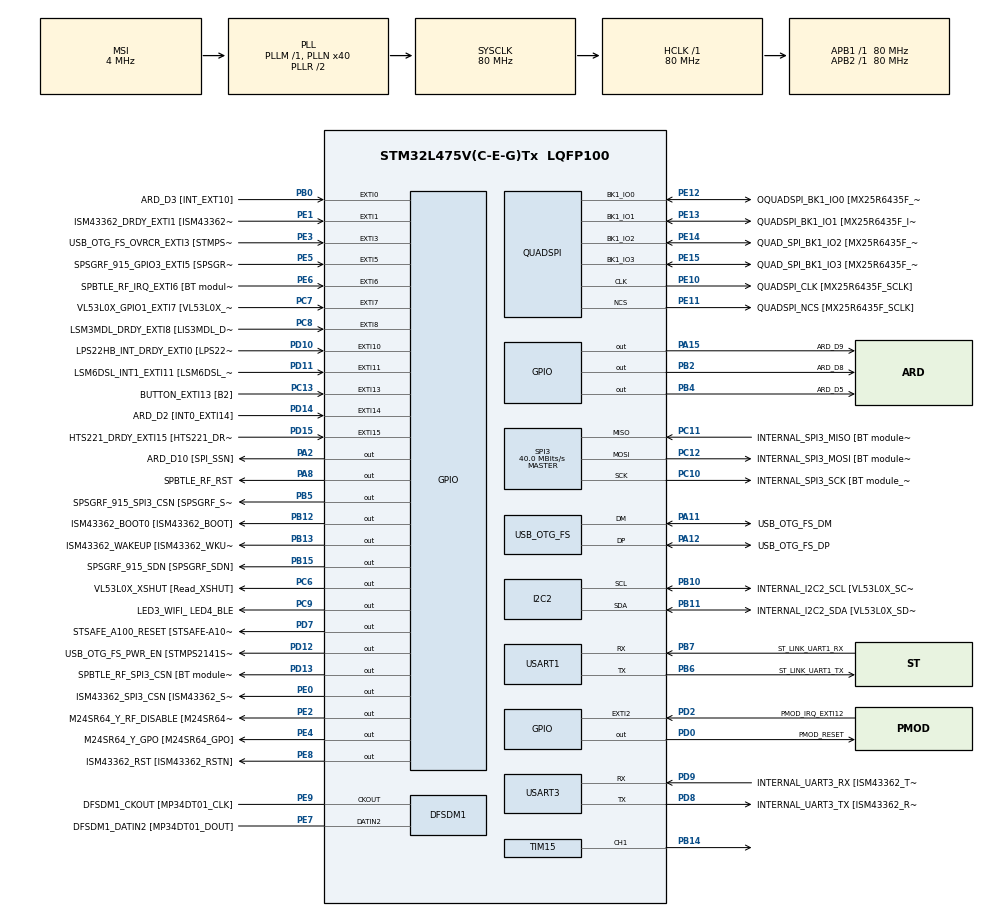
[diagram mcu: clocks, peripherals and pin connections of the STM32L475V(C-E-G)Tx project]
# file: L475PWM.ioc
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I2C2.Timing=0x10909CEC
Mcu.Family=STM32L4
Mcu.Name=STM32L475V(C-E-G)Tx
Mcu.Package=LQFP100
NVIC.EXTI15_10_IRQn=true\:0\:0\:false\:false\:true\:true\:true\:true
NVIC.EXTI9_5_IRQn=true\:0\:0\:false\:false\:true\:true\:true\:true
NVIC.PriorityGroup=NVIC_PRIORITYGROUP_4
PA0.GPIO_Label=ARD_D1 [UART4_TX]
PA0.Signal=UART4_TX
PA1.GPIO_Label=ARD_D0 [UART4_RX]
PA1.Signal=UART4_RX
PA10.GPIO_Label=USB_OTG_FS_ID
PA10.Signal=USB_OTG_FS_ID
PA11.GPIO_Label=USB_OTG_FS_DM
PA11.Mode=Device_Only
PA11.Signal=USB_OTG_FS_DM
PA12.GPIO_Label=USB_OTG_FS_DP
PA12.Mode=Device_Only
PA12.Signal=USB_OTG_FS_DP
PA13\ (JTMS-SWDIO).GPIO_Label=SYS_JTMS_SWDIO
PA13\ (JTMS-SWDIO).Mode=Serial_Wire
PA13\ (JTMS-SWDIO).Signal=SYS_JTMS-SWDIO
PA14\ (JTCK-SWCLK).GPIO_Label=SYS_JTCK_SWCLK
PA14\ (JTCK-SWCLK).Mode=Serial_Wire
PA14\ (JTCK-SWCLK).Signal=SYS_JTCK-SWCLK
PA15\ (JTDI).GPIO_Label=ARD_D9
PA15\ (JTDI).Signal=GPIO_Output
PA2.GPIO_Label=ARD_D10 [SPI_SSN]
PA2.Signal=GPIO_Output
PA3.GPIO_Label=ARD_D4
PA3.Signal=S_TIM2_CH4
PA4.GPIO_Label=ARD_D7
PA4.Signal=ADCx_IN9
PA5.GPIO_Label=ARD_D13 [SPI1_SCK]
PA5.Signal=SPI1_SCK
PA6.GPIO_Label=ARD_D12 [SPI1_MISO]
PA6.Signal=SPI1_MISO
PA7.GPIO_Label=ARD_D11 [SPI1_MOSI]
PA7.Signal=SPI1_MOSI
PA8.GPIO_Label=SPBTLE_RF_RST
PA8.Signal=GPIO_Output
PA9.GPIO_Label=USB_OTG_FS_VBUS [STMPS2141STR_OUT]
PA9.Signal=USB_OTG_FS_VBUS
PB0.GPIO_Label=ARD_D3 [INT_EXT10]
PB0.Signal=GPXTI0
PB1.GPIO_Label=ARD_D6 [ADC1_IN6]
PB1.Signal=ADCx_IN16
PB10.GPIO_Label=INTERNAL_I2C2_SCL [VL53L0X_SCL]
PB10.GPIO_Pu=GPIO_PULLUP
PB10.Mode=I2C
PB10.Signal=I2C2_SCL
PB11.GPIO_Label=INTERNAL_I2C2_SDA [VL53L0X_SDA]
PB11.GPIO_Pu=GPIO_PULLUP
PB11.Mode=I2C
PB11.Signal=I2C2_SDA
PB12.GPIO_Label=ISM43362_BOOT0 [ISM43362_BOOT]
PB12.Signal=GPIO_Output
PB13.GPIO_Label=ISM43362_WAKEUP [ISM43362_WKUP]
PB13.Signal=GPIO_Output
PB14.Signal=S_TIM15_CH1
PB15.GPIO_Label=SPSGRF_915_SDN [SPSGRF_SDN]
PB15.Signal=GPIO_Output
PB2.GPIO_Label=ARD_D8
PB2.Signal=GPIO_Output
PB3\ (JTDO-TRACESWO).GPIO_Label=SYS_JTD0_SWO
PB3\ (JTDO-TRACESWO).Signal=SYS_JTDO-SWO
PB4\ (NJTRST).GPIO_Label=ARD_D5
PB4\ (NJTRST).Signal=GPIO_Output
PB5.GPIO_Label=SPSGRF_915_SPI3_CSN [SPSGRF_SPI_CS]
PB5.PinState=GPIO_PIN_SET
PB5.Signal=GPIO_Output
PB6.GPIO_Label=ST_LINK_UART1_TX
PB6.Mode=Asynchronous
PB6.Signal=USART1_TX
PB7.GPIO_Label=ST_LINK_UART1_RX
PB7.Mode=Asynchronous
PB7.Signal=USART1_RX
PB8.GPIO_Label=ARD_D15 [I2C1_SCL]
PB8.Signal=I2C1_SCL
PB9.GPIO_Label=ARD_D14 [I2C1_SDA]
PB9.Signal=I2C1_SDA
PC0.GPIO_Label=ARD_A5 [ADC]
PC0.Signal=ADCx_IN1
PC1.GPIO_Label=ARD_A4 [ADC]
PC1.Signal=ADCx_IN2
PC10.GPIO_Label=INTERNAL_SPI3_SCK [BT module_SPI_SCLK] [ISM43362_SCK]
PC10.Mode=Full_Duplex_Master
PC10.Signal=SPI3_SCK
PC11.GPIO_Label=INTERNAL_SPI3_MISO [BT module_SPI_MISO] [ISM43362_MISO]
PC11.Mode=Full_Duplex_Master
PC11.Signal=SPI3_MISO
PC12.GPIO_Label=INTERNAL_SPI3_MOSI [BT module_SPI_MOSI] [ISM43362_MOSI]
PC12.Mode=Full_Duplex_Master
PC12.Signal=SPI3_MOSI
PC13.GPIO_Label=BUTTON_EXTI13 [B2]
PC13.GPIO_ModeDefaultEXTI=GPIO_MODE_IT_FALLING
PC13.Signal=GPXTI13
PC14-OSC32_IN\ (PC14).Mode=LSE-External-Oscillator
PC14-OSC32_IN\ (PC14).Signal=RCC_OSC32_IN
PC15-OSC32_OUT\ (PC15).Mode=LSE-External-Oscillator
PC15-OSC32_OUT\ (PC15).Signal=RCC_OSC32_OUT
PC2.GPIO_Label=ARD_A3 [ADC]
PC2.Signal=ADCx_IN3
PC3.GPIO_Label=ARD_A2 [ADC]
PC3.Signal=ADCx_IN4
PC4.GPIO_Label=ARD_A1 [ADC]
PC4.Signal=ADCx_IN13
PC5.GPIO_Label=ARD_A0 [ADC]
PC5.Signal=ADCx_IN14
PC6.GPIO_Label=VL53L0X_XSHUT [Read_XSHUT]
PC6.Signal=GPIO_Output
PC7.GPIO_Label=VL53L0X_GPIO1_EXTI7 [VL53L0X_GPIO1]
PC7.Signal=GPXTI7
PC8.GPIO_Label=LSM3MDL_DRDY_EXTI8 [LIS3MDL_DRDY]
PC8.Signal=GPXTI8
PC9.GPIO_Label=LED3_WIFI_ LED4_BLE
PC9.Signal=GPIO_Output
PD0.GPIO_Label=PMOD_RESET
PD0.Signal=GPIO_Output
PD1.GPIO_Label=PMOD_SPI2_SCK
PD1.Signal=SPI2_SCK
PD10.GPIO_Label=LPS22HB_INT_DRDY_EXTI0 [LPS22HB_INT_DRDY] 
PD10.Signal=GPXTI10
PD11.GPIO_Label=LSM6DSL_INT1_EXTI11 [LSM6DSL_INT1]
PD11.Signal=GPXTI11
PD12.GPIO_Label=USB_OTG_FS_PWR_EN [STMPS2141STR_EN]
PD12.Signal=GPIO_Output
PD13.GPIO_Label=SPBTLE_RF_SPI3_CSN [BT module_SPI_CS]
PD13.PinState=GPIO_PIN_SET
PD13.Signal=GPIO_Output
PD14.GPIO_Label=ARD_D2 [INT0_EXTI14]
PD14.Signal=GPXTI14
PD15.GPIO_Label=HTS221_DRDY_EXTI15 [HTS221_DRDY]
PD15.Signal=GPXTI15
PD2.GPIO_Label=PMOD_IRQ_EXTI12
PD2.Signal=GPXTI2
PD3.GPIO_Label=PMOD_UART2_CTS
PD3.Signal=USART2_CTS
PD4.GPIO_Label=PMOD_UART2_RTS
PD4.Signal=USART2_RTS
PD5.GPIO_Label=PMOD_UART2_TX
PD5.Signal=USART2_TX
PD6.GPIO_Label=PMOD_UART2_RX
PD6.Signal=USART2_RX
PD7.GPIO_Label=STSAFE_A100_RESET [STSAFE-A100_RESET]
PD7.Signal=GPIO_Output
PD8.GPIO_Label=INTERNAL_UART3_TX [ISM43362_RX]
PD8.Mode=Asynchronous
PD8.Signal=USART3_TX
PD9.GPIO_Label=INTERNAL_UART3_RX [ISM43362_TX]
PD9.Mode=Asynchronous
PD9.Signal=USART3_RX
PE0.GPIO_Label=ISM43362_SPI3_CSN [ISM43362_SSN]
PE0.PinState=GPIO_PIN_SET
PE0.Signal=GPIO_Output
PE1.GPIO_Label=ISM43362_DRDY_EXTI1 [ISM43362_DATARDY]
PE1.Signal=GPXTI1
PE10.GPIO_Label=QUADSPI_CLK [MX25R6435F_SCLK]
PE10.Mode=Single Bank
PE10.Signal=QUADSPI_CLK
PE11.GPIO_Label=QUADSPI_NCS [MX25R6435F_SCLK]
PE11.Mode=Single Bank
PE11.Signal=QUADSPI_NCS
PE12.GPIO_Label=OQUADSPI_BK1_IO0 [MX25R6435F_IO0]
PE12.Mode=Single Bank
PE12.Signal=QUADSPI_BK1_IO0
PE13.GPIO_Label=QUADSPI_BK1_IO1 [MX25R6435F_IO1]
PE13.Mode=Single Bank
PE13.Signal=QUADSPI_BK1_IO1
PE14.GPIO_Label=QUAD_SPI_BK1_IO2 [MX25R6435F_IO2]
PE14.Mode=Single Bank
PE14.Signal=QUADSPI_BK1_IO2
PE15.GPIO_Label=QUAD_SPI_BK1_IO3 [MX25R6435F_IO3]
PE15.Mode=Single Bank
PE15.Signal=QUADSPI_BK1_IO3
PE2.GPIO_Label=M24SR64_Y_RF_DISABLE [M24SR64_RFDIS]
PE2.Signal=GPIO_Output
PE3.GPIO_Label=USB_OTG_FS_OVRCR_EXTI3 [STMPS2141STR_FAULT]
PE3.Signal=GPXTI3
PE4.GPIO_Label=M24SR64_Y_GPO [M24SR64_GPO]
PE4.Signal=GPIO_Output
PE5.GPIO_Label=SPSGRF_915_GPIO3_EXTI5 [SPSGRF_GPIO_3]
PE5.Signal=GPXTI5
PE6.GPIO_Label=SPBTLE_RF_IRQ_EXTI6 [BT module_SPI_IRQ]
PE6.Signal=GPXTI6
PE7.GPIO_Label=DFSDM1_DATIN2 [MP34DT01_DOUT]
PE7.Signal=S_DATAIN2DFSDM1
PE8.GPIO_Label=ISM43362_RST [ISM43362_RSTN]
PE8.Signal=GPIO_Output
PE9.GPIO_Label=DFSDM1_CKOUT [MP34DT01_CLK]
PE9.Signal=S_CKOUTDFSDM1
ProjectManager.HeapSize=0x200
ProjectManager.StackSize=0x400
ProjectManager.TargetToolchain=CMake
QUADSPI.ClockPrescaler=2
QUADSPI.FifoThreshold=4
QUADSPI.FlashSize=23
QUADSPI.SampleShifting=QSPI_SAMPLE_SHIFTING_HALFCYCLE
RCC.ADCFreq_Value=48000000
RCC.AHBFreq_Value=80000000
RCC.APB1Freq_Value=80000000
RCC.APB1TimFreq_Value=80000000
RCC.APB2Freq_Value=80000000
RCC.APB2TimFreq_Value=80000000
RCC.CortexFreq_Value=80000000
RCC.HCLKFreq_Value=80000000
RCC.HSE_VALUE=8000000
RCC.HSI_VALUE=16000000
RCC.MSI_VALUE=4000000
RCC.PLLN=40
RCC.PLLSAI1N=24
RCC.SYSCLKFreq_VALUE=80000000
RCC.SYSCLKSource=RCC_SYSCLKSOURCE_PLLCLK
RCC.USBFreq_Value=48000000
RCC.VCOOutputFreq_Value=160000000
SH.ADCx_IN1.0=ADC1_IN1
SH.ADCx_IN13.0=ADC1_IN13
SH.ADCx_IN14.0=ADC1_IN14
SH.ADCx_IN16.0=ADC1_IN16
SH.ADCx_IN2.0=ADC1_IN2
SH.ADCx_IN3.0=ADC1_IN3
SH.ADCx_IN4.0=ADC1_IN4
SH.ADCx_IN9.0=ADC1_IN9
SH.S_CKOUTDFSDM1.0=DFSDM1_CKOUT,CKOUT
SH.S_CKOUTDFSDM1.1=DFSDM1_CKOUT,PDM_SPI_Input_from_ch12_and_Internal_Clock
SH.S_DATAIN2DFSDM1.0=DFSDM1_DATIN2,PDM_SPI_Input_from_ch12_and_Internal_Clock
SH.S_TIM15_CH1.0=TIM15_CH1,PWM Generation1 CH1
SH.S_TIM2_CH4.0=TIM2_CH4
SPI3.BaudRatePrescaler=SPI_BAUDRATEPRESCALER_2
SPI3.CalculateBaudRate=40.0 MBits/s
SPI3.Direction=SPI_DIRECTION_2LINES
SPI3.Mode=SPI_MODE_MASTER
SPI3.VirtualType=VM_MASTER
TIM15.AutoReloadPreload=TIM_AUTORELOAD_PRELOAD_ENABLE
TIM15.Channel-PWM\ Generation1\ CH1=TIM_CHANNEL_1
TIM15.Period=1000
TIM15.Prescaler=72-1
TIM15.Pulse-PWM\ Generation1\ CH1=500
USART1.VirtualMode-Asynchronous=VM_ASYNC
USART3.VirtualMode-Asynchronous=VM_ASYNC
USB_OTG_FS.VirtualMode=Device_Only
board=B-L475E-IOT01A1

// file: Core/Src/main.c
/* USER CODE BEGIN Header */
/**
 ******************************************************************************
 * @file           : main.c
 * @brief          : Main program body
 ******************************************************************************
 * @attention
 *
 * Copyright (c) 2024 STMicroelectronics.
 * All rights reserved.
 *
 * This software is licensed under terms that can be found in the LICENSE file
 * in the root directory of this software component.
 * If no LICENSE file comes with this software, it is provided AS-IS.
 *
 ******************************************************************************
 */
/* USER CODE END Header */
#include "main.h"
#include "dfsdm.h"
#include "i2c.h"
#include "quadspi.h"
#include "spi.h"
#include "tim.h"
#include "usart.h"
#include "usb_otg.h"
#include "gpio.h"

/* USER CODE BEGIN Includes */
#include <stdio.h>
/* USER CODE END Includes */

void SystemClock_Config(void);
/* USER CODE BEGIN PFP */
#ifdef __GNUC__
#define PUTCHAR_PROTOTYPE int __io_putchar(int ch)
#else
#define PUTCHAR_PROTOTYPE int fputc(int ch, FILE *f)
#endif

PUTCHAR_PROTOTYPE
{
  HAL_UART_Transmit(&huart1, (uint8_t *)&ch, 1, HAL_MAX_DELAY);
  return ch;
}
/* USER CODE END PFP */

int main(void)
{

  /* MCU Configuration--------------------------------------------------------*/

  /* Reset of all peripherals, Initializes the Flash interface and the Systick. */
  HAL_Init();

  /* Configure the system clock */
  SystemClock_Config();

  /* Initialize all configured peripherals */
  MX_GPIO_Init();
  MX_DFSDM1_Init();
  MX_I2C2_Init();
  MX_QUADSPI_Init();
  MX_SPI3_Init();
  MX_USART1_UART_Init();
  MX_USART3_UART_Init();
  MX_USB_OTG_FS_PCD_Init();
  MX_TIM15_Init();
  /* USER CODE BEGIN 2 */
  HAL_TIM_PWM_Start(&htim15, TIM_CHANNEL_1);

  int flag, i = 0;
  /* USER CODE END 2 */

  /* Infinite loop */
  /* USER CODE BEGIN WHILE */
  while (1)
  {
    if (flag == 0)
      i++;
    else
      i--;
    if (i >= 300)
      flag = 1;
    if (i == 0)
      flag = 0;
    HAL_Delay(3);
    htim15.Instance->CCR1 = i;
    printf("i = %d\n", i);
    /* USER CODE END WHILE */

  }
}

void SystemClock_Config(void)
{
  RCC_OscInitTypeDef RCC_OscInitStruct = {0};
  RCC_ClkInitTypeDef RCC_ClkInitStruct = {0};

  /** Configure the main internal regulator output voltage
   */
  if (HAL_PWREx_ControlVoltageScaling(PWR_REGULATOR_VOLTAGE_SCALE1) != HAL_OK)
  {
    Error_Handler();
  }

  /** Configure LSE Drive Capability
   */
  HAL_PWR_EnableBkUpAccess();
  __HAL_RCC_LSEDRIVE_CONFIG(RCC_LSEDRIVE_LOW);

  /** Initializes the RCC Oscillators according to the specified parameters
   * in the RCC_OscInitTypeDef structure.
   */
  RCC_OscInitStruct.OscillatorType = RCC_OSCILLATORTYPE_LSE | RCC_OSCILLATORTYPE_MSI;
  RCC_OscInitStruct.LSEState = RCC_LSE_ON;
  RCC_OscInitStruct.MSIState = RCC_MSI_ON;
  RCC_OscInitStruct.MSICalibrationValue = 0;
  RCC_OscInitStruct.MSIClockRange = RCC_MSIRANGE_6;
  RCC_OscInitStruct.PLL.PLLState = RCC_PLL_ON;
  RCC_OscInitStruct.PLL.PLLSource = RCC_PLLSOURCE_MSI;
  RCC_OscInitStruct.PLL.PLLM = 1;
  RCC_OscInitStruct.PLL.PLLN = 40;
  RCC_OscInitStruct.PLL.PLLP = RCC_PLLP_DIV7;
  RCC_OscInitStruct.PLL.PLLQ = RCC_PLLQ_DIV2;
  RCC_OscInitStruct.PLL.PLLR = RCC_PLLR_DIV2;
  if (HAL_RCC_OscConfig(&RCC_OscInitStruct) != HAL_OK)
  {
    Error_Handler();
  }

  /** Initializes the CPU, AHB and APB buses clocks
   */
  RCC_ClkInitStruct.ClockType = RCC_CLOCKTYPE_HCLK | RCC_CLOCKTYPE_SYSCLK | RCC_CLOCKTYPE_PCLK1 | RCC_CLOCKTYPE_PCLK2;
  RCC_ClkInitStruct.SYSCLKSource = RCC_SYSCLKSOURCE_PLLCLK;
  RCC_ClkInitStruct.AHBCLKDivider = RCC_SYSCLK_DIV1;
  RCC_ClkInitStruct.APB1CLKDivider = RCC_HCLK_DIV1;
  RCC_ClkInitStruct.APB2CLKDivider = RCC_HCLK_DIV1;

  if (HAL_RCC_ClockConfig(&RCC_ClkInitStruct, FLASH_LATENCY_4) != HAL_OK)
  {
    Error_Handler();
  }

  /** Enable MSI Auto calibration
   */
  HAL_RCCEx_EnableMSIPLLMode();
}

void Error_Handler(void)
{
  __disable_irq();
  while (1)
  {
  }
}
